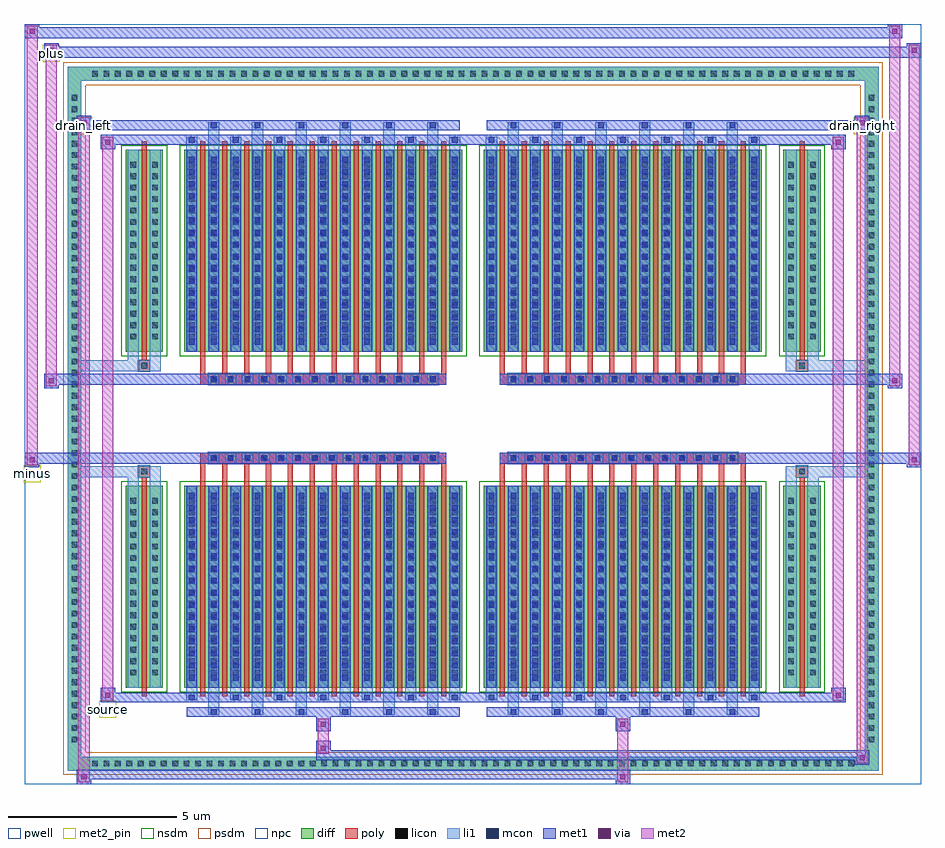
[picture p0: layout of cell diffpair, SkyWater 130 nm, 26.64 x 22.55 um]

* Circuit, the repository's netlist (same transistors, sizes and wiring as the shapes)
* NGSPICE file created from diffpair.ext - technology: sky130A

.subckt diffpair minus drain_right drain_left source plus
X0 drain_right minus source a_n2406_n2088# sky130_fd_pr__nfet_01v8 ad=1.5 pd=6.5 as=2.85 ps=12.95 w=6 l=0.15
X1 source plus drain_left a_n2406_n2088# sky130_fd_pr__nfet_01v8 ad=1.5 pd=6.5 as=1.5 ps=6.5 w=6 l=0.15
X2 drain_left plus source a_n2406_n2088# sky130_fd_pr__nfet_01v8 ad=1.5 pd=6.5 as=1.5 ps=6.5 w=6 l=0.15
X3 source minus drain_right a_n2406_n2088# sky130_fd_pr__nfet_01v8 ad=1.5 pd=6.5 as=1.5 ps=6.5 w=6 l=0.15
X4 a_n2406_n2088# a_n2406_n2088# a_n2406_n2088# a_n2406_n2088# sky130_fd_pr__nfet_01v8 ad=2.85 pd=12.95 as=22.8 ps=103.6 w=6 l=0.15
X5 source minus drain_right a_n2406_n2088# sky130_fd_pr__nfet_01v8 ad=1.5 pd=6.5 as=1.5 ps=6.5 w=6 l=0.15
X6 drain_left plus source a_n2406_n2088# sky130_fd_pr__nfet_01v8 ad=1.5 pd=6.5 as=2.85 ps=12.95 w=6 l=0.15
X7 drain_left plus source a_n2406_n2088# sky130_fd_pr__nfet_01v8 ad=1.5 pd=6.5 as=1.5 ps=6.5 w=6 l=0.15
X8 drain_right minus source a_n2406_n2088# sky130_fd_pr__nfet_01v8 ad=1.5 pd=6.5 as=1.5 ps=6.5 w=6 l=0.15
X9 drain_right minus source a_n2406_n2088# sky130_fd_pr__nfet_01v8 ad=1.5 pd=6.5 as=1.5 ps=6.5 w=6 l=0.15
X10 drain_right minus source a_n2406_n2088# sky130_fd_pr__nfet_01v8 ad=1.5 pd=6.5 as=1.5 ps=6.5 w=6 l=0.15
X11 source plus drain_left a_n2406_n2088# sky130_fd_pr__nfet_01v8 ad=1.5 pd=6.5 as=1.5 ps=6.5 w=6 l=0.15
X12 a_n2406_n2088# a_n2406_n2088# a_n2406_n2088# a_n2406_n2088# sky130_fd_pr__nfet_01v8 ad=2.85 pd=12.95 as=0 ps=0 w=6 l=0.15
X13 source minus drain_right a_n2406_n2088# sky130_fd_pr__nfet_01v8 ad=1.5 pd=6.5 as=1.5 ps=6.5 w=6 l=0.15
X14 a_n2406_n2088# a_n2406_n2088# a_n2406_n2088# a_n2406_n2088# sky130_fd_pr__nfet_01v8 ad=2.85 pd=12.95 as=0 ps=0 w=6 l=0.15
X15 a_n2406_n2088# a_n2406_n2088# a_n2406_n2088# a_n2406_n2088# sky130_fd_pr__nfet_01v8 ad=2.85 pd=12.95 as=0 ps=0 w=6 l=0.15
X16 source minus drain_right a_n2406_n2088# sky130_fd_pr__nfet_01v8 ad=1.5 pd=6.5 as=1.5 ps=6.5 w=6 l=0.15
X17 source minus drain_right a_n2406_n2088# sky130_fd_pr__nfet_01v8 ad=1.5 pd=6.5 as=1.5 ps=6.5 w=6 l=0.15
X18 source minus drain_right a_n2406_n2088# sky130_fd_pr__nfet_01v8 ad=1.5 pd=6.5 as=1.5 ps=6.5 w=6 l=0.15
X19 drain_right minus source a_n2406_n2088# sky130_fd_pr__nfet_01v8 ad=1.5 pd=6.5 as=2.85 ps=12.95 w=6 l=0.15
X20 drain_right minus source a_n2406_n2088# sky130_fd_pr__nfet_01v8 ad=1.5 pd=6.5 as=1.5 ps=6.5 w=6 l=0.15
X21 drain_right minus source a_n2406_n2088# sky130_fd_pr__nfet_01v8 ad=1.5 pd=6.5 as=1.5 ps=6.5 w=6 l=0.15
X22 source plus drain_left a_n2406_n2088# sky130_fd_pr__nfet_01v8 ad=1.5 pd=6.5 as=1.5 ps=6.5 w=6 l=0.15
X23 source minus drain_right a_n2406_n2088# sky130_fd_pr__nfet_01v8 ad=1.5 pd=6.5 as=1.5 ps=6.5 w=6 l=0.15
X24 drain_right minus source a_n2406_n2088# sky130_fd_pr__nfet_01v8 ad=1.5 pd=6.5 as=1.5 ps=6.5 w=6 l=0.15
X25 drain_right minus source a_n2406_n2088# sky130_fd_pr__nfet_01v8 ad=1.5 pd=6.5 as=1.5 ps=6.5 w=6 l=0.15
X26 drain_left plus source a_n2406_n2088# sky130_fd_pr__nfet_01v8 ad=1.5 pd=6.5 as=1.5 ps=6.5 w=6 l=0.15
X27 source plus drain_left a_n2406_n2088# sky130_fd_pr__nfet_01v8 ad=2.85 pd=12.95 as=1.5 ps=6.5 w=6 l=0.15
X28 drain_right minus source a_n2406_n2088# sky130_fd_pr__nfet_01v8 ad=1.5 pd=6.5 as=1.5 ps=6.5 w=6 l=0.15
X29 drain_right minus source a_n2406_n2088# sky130_fd_pr__nfet_01v8 ad=1.5 pd=6.5 as=1.5 ps=6.5 w=6 l=0.15
X30 source minus drain_right a_n2406_n2088# sky130_fd_pr__nfet_01v8 ad=2.85 pd=12.95 as=1.5 ps=6.5 w=6 l=0.15
X31 source plus drain_left a_n2406_n2088# sky130_fd_pr__nfet_01v8 ad=1.5 pd=6.5 as=1.5 ps=6.5 w=6 l=0.15
X32 source minus drain_right a_n2406_n2088# sky130_fd_pr__nfet_01v8 ad=1.5 pd=6.5 as=1.5 ps=6.5 w=6 l=0.15
X33 source minus drain_right a_n2406_n2088# sky130_fd_pr__nfet_01v8 ad=2.85 pd=12.95 as=1.5 ps=6.5 w=6 l=0.15
X34 source plus drain_left a_n2406_n2088# sky130_fd_pr__nfet_01v8 ad=1.5 pd=6.5 as=1.5 ps=6.5 w=6 l=0.15
X35 drain_left plus source a_n2406_n2088# sky130_fd_pr__nfet_01v8 ad=1.5 pd=6.5 as=1.5 ps=6.5 w=6 l=0.15
X36 source minus drain_right a_n2406_n2088# sky130_fd_pr__nfet_01v8 ad=1.5 pd=6.5 as=1.5 ps=6.5 w=6 l=0.15
X37 drain_left plus source a_n2406_n2088# sky130_fd_pr__nfet_01v8 ad=1.5 pd=6.5 as=1.5 ps=6.5 w=6 l=0.15
X38 drain_right minus source a_n2406_n2088# sky130_fd_pr__nfet_01v8 ad=1.5 pd=6.5 as=1.5 ps=6.5 w=6 l=0.15
X39 drain_left plus source a_n2406_n2088# sky130_fd_pr__nfet_01v8 ad=1.5 pd=6.5 as=1.5 ps=6.5 w=6 l=0.15
X40 source plus drain_left a_n2406_n2088# sky130_fd_pr__nfet_01v8 ad=1.5 pd=6.5 as=1.5 ps=6.5 w=6 l=0.15
X41 source plus drain_left a_n2406_n2088# sky130_fd_pr__nfet_01v8 ad=1.5 pd=6.5 as=1.5 ps=6.5 w=6 l=0.15
X42 source minus drain_right a_n2406_n2088# sky130_fd_pr__nfet_01v8 ad=1.5 pd=6.5 as=1.5 ps=6.5 w=6 l=0.15
X43 drain_left plus source a_n2406_n2088# sky130_fd_pr__nfet_01v8 ad=1.5 pd=6.5 as=1.5 ps=6.5 w=6 l=0.15
X44 source plus drain_left a_n2406_n2088# sky130_fd_pr__nfet_01v8 ad=1.5 pd=6.5 as=1.5 ps=6.5 w=6 l=0.15
X45 drain_left plus source a_n2406_n2088# sky130_fd_pr__nfet_01v8 ad=1.5 pd=6.5 as=1.5 ps=6.5 w=6 l=0.15
X46 drain_left plus source a_n2406_n2088# sky130_fd_pr__nfet_01v8 ad=1.5 pd=6.5 as=1.5 ps=6.5 w=6 l=0.15
X47 source plus drain_left a_n2406_n2088# sky130_fd_pr__nfet_01v8 ad=1.5 pd=6.5 as=1.5 ps=6.5 w=6 l=0.15
X48 drain_left plus source a_n2406_n2088# sky130_fd_pr__nfet_01v8 ad=1.5 pd=6.5 as=1.5 ps=6.5 w=6 l=0.15
X49 drain_left plus source a_n2406_n2088# sky130_fd_pr__nfet_01v8 ad=1.5 pd=6.5 as=2.85 ps=12.95 w=6 l=0.15
X50 source plus drain_left a_n2406_n2088# sky130_fd_pr__nfet_01v8 ad=1.5 pd=6.5 as=1.5 ps=6.5 w=6 l=0.15
X51 source plus drain_left a_n2406_n2088# sky130_fd_pr__nfet_01v8 ad=2.85 pd=12.95 as=1.5 ps=6.5 w=6 l=0.15
.ends

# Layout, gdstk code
import gdstk
lib = gdstk.Library(unit=1e-6, precision=5e-09)
def R(c, l, rs):  # rectangles x0, y0, x1, y1
    for r in rs: c.add(gdstk.rectangle(r[:2], r[2:], *l))
def A(c, l, x, y, w, h, nx, ny, dx, dy):  # array of equal rectangles
    R(c, l, [(x+i*dx, y+j*dy, x+i*dx+w, y+j*dy+h) for i in range(nx) for j in range(ny)])
def P(c, l, *ps):  # polygons
    for p in ps: c.add(gdstk.Polygon(p, *l))
pwell = (64, 44)
diff = (65, 20)
poly = (66, 20)
licon = (66, 44)
li1 = (67, 20)
mcon = (67, 44)
met1 = (68, 20)
via = (68, 44)
met2_pin = (69, 16)
met2 = (69, 20)
nsdm = (93, 44)
psdm = (94, 20)
npc = (95, 20)

diffpair = lib.new_cell('diffpair')
R(diffpair, pwell, [(-13.3,-10.84,13.3,11.71), (-10.62,-9.03,-0.01,-0.805), (0.01,-9.03,10.62,-0.805), (-10.62,0.805,-0.01,9.03), (0.01,0.805,10.62,9.03)])
A(diffpair, diff, -11.425, -10.44, 0.41, 0.41, 67, 2, 0.34, 20.47)
A(diffpair, diff, -12.03, -9.725, 0.41, 0.41, 1, 57, 0, 0.34)
A(diffpair, diff, 11.62, -9.725, 0.41, 0.41, 1, 57, 0, 0.34)
R(diffpair, diff, [(-11.425,-10.44,11.425,-10.03), (-12.03,-9.725,-11.62,9.725), (11.62,-9.725,12.03,9.725), (-10.31,-7.985,-9.21,-1.985), (-8.57,-7.985,-0.32,-1.985), (0.32,-7.985,8.57,-1.985), (9.21,-7.985,10.31,-1.985), (-10.31,1.985,-9.21,7.985), (-8.57,1.985,-0.32,7.985), (0.32,1.985,8.57,7.985), (9.21,1.985,10.31,7.985), (-11.425,10.03,11.425,10.44)])
P(diffpair, diff, [(12.03,10.44),(-12.03,10.44),(-12.03,-10.03),(-11.62,-10.03),(-11.62,10.03),(11.62,10.03),(11.62,-10.03),(-11.62,-10.03),(-12.03,-10.03),(-12.03,-10.44),(12.03,-10.44)])
A(diffpair, poly, -8.095, -8.235, 0.15, 6.5, 12, 2, 0.65, 9.97)
A(diffpair, poly, 0.795, -8.235, 0.15, 6.5, 12, 2, 0.65, 9.97)
A(diffpair, poly, -8.095, -1.735, 0.15, 0.4, 12, 2, 0.65, 3.07)
A(diffpair, poly, 0.795, -1.735, 0.15, 0.4, 12, 2, 0.65, 3.07)
A(diffpair, poly, -7.86, -1.335, 0.33, 0.33, 14, 2, 0.5, 2.34)
A(diffpair, poly, 1.03, -1.335, 0.33, 0.33, 14, 2, 0.5, 2.34)
R(diffpair, poly, [(-9.835,-8.235,-9.685,-1.735), (9.685,-8.235,9.835,-1.735), (-9.925,-1.735,-9.595,-1.405), (-9.925,-1.735,-9.595,-1.405), (9.595,-1.735,9.925,-1.405), (9.595,-1.735,9.925,-1.405), (-8.095,-1.335,-0.795,-1.005), (0.795,-1.335,8.095,-1.005), (-8.095,1.005,-0.795,1.335), (0.795,1.005,8.095,1.335), (-9.925,1.405,-9.595,1.735), (-9.925,1.405,-9.595,1.735), (9.595,1.405,9.925,1.735), (9.595,1.405,9.925,1.735), (-9.835,1.735,-9.685,8.235), (9.685,1.735,9.835,8.235)])
A(diffpair, licon, -11.305, -10.32, 0.17, 0.17, 67, 2, 0.34, 20.47)
A(diffpair, licon, -11.91, -9.605, 0.17, 0.17, 1, 57, 0, 0.34)
A(diffpair, licon, 11.74, -9.605, 0.17, 0.17, 1, 57, 0, 0.34)
A(diffpair, licon, -10.17, -7.62, 0.17, 0.17, 1, 16, 0, 0.34)
A(diffpair, licon, -9.52, -7.62, 0.17, 0.17, 1, 16, 0, 0.34)
A(diffpair, licon, -8.43, -7.62, 0.17, 0.17, 13, 16, 0.65, 0.34)
A(diffpair, licon, 0.46, -7.62, 0.17, 0.17, 13, 16, 0.65, 0.34)
A(diffpair, licon, 9.35, -7.62, 0.17, 0.17, 1, 16, 0, 0.34)
A(diffpair, licon, 10, -7.62, 0.17, 0.17, 1, 16, 0, 0.34)
A(diffpair, licon, -7.78, -1.255, 0.17, 0.17, 14, 2, 0.5, 2.34)
A(diffpair, licon, 1.11, -1.255, 0.17, 0.17, 14, 2, 0.5, 2.34)
A(diffpair, licon, -10.17, 2.35, 0.17, 0.17, 1, 16, 0, 0.34)
A(diffpair, licon, -9.52, 2.35, 0.17, 0.17, 1, 16, 0, 0.34)
A(diffpair, licon, -8.43, 2.35, 0.17, 0.17, 13, 16, 0.65, 0.34)
A(diffpair, licon, 0.46, 2.35, 0.17, 0.17, 13, 16, 0.65, 0.34)
A(diffpair, licon, 9.35, 2.35, 0.17, 0.17, 1, 16, 0, 0.34)
A(diffpair, licon, 10, 2.35, 0.17, 0.17, 1, 16, 0, 0.34)
R(diffpair, licon, [(-9.845,-1.655,-9.675,-1.485), (9.675,-1.655,9.845,-1.485), (-9.845,1.485,-9.675,1.655), (9.675,1.485,9.845,1.655)])
A(diffpair, li1, -11.385, -10.4, 0.33, 0.33, 67, 2, 0.34, 20.47)
A(diffpair, li1, -11.99, -9.685, 0.33, 0.33, 1, 57, 0, 0.34)
A(diffpair, li1, 11.66, -9.685, 0.33, 0.33, 1, 57, 0, 0.34)
A(diffpair, li1, -7.86, -8.79, 0.33, 0.805, 6, 2, 1.3, 16.775)
A(diffpair, li1, -7.78, -8.79, 0.17, 0.17, 6, 2, 1.3, 17.41)
A(diffpair, li1, 1.03, -8.79, 0.33, 0.805, 6, 2, 1.3, 16.775)
A(diffpair, li1, 1.11, -8.79, 0.17, 0.17, 6, 2, 1.3, 17.41)
A(diffpair, li1, -8.51, -8.36, 0.33, 0.375, 7, 2, 1.3, 16.345)
A(diffpair, li1, -8.43, -8.36, 0.17, 0.17, 7, 2, 1.3, 16.55)
A(diffpair, li1, 0.38, -8.36, 0.33, 0.375, 7, 2, 1.3, 16.345)
A(diffpair, li1, 0.46, -8.36, 0.17, 0.17, 7, 2, 1.3, 16.55)
A(diffpair, li1, -8.51, -7.985, 0.33, 6, 13, 2, 0.65, 9.97)
A(diffpair, li1, 0.38, -7.985, 0.33, 6, 13, 2, 0.65, 9.97)
A(diffpair, li1, -8.43, -7.77, 0.17, 0.17, 13, 16, 0.65, 0.36)
A(diffpair, li1, -8.43, -7.77, 0.17, 5.57, 13, 2, 0.65, 9.97)
A(diffpair, li1, 0.46, -7.77, 0.17, 0.17, 13, 16, 0.65, 0.36)
A(diffpair, li1, 0.46, -7.77, 0.17, 5.57, 13, 2, 0.65, 9.97)
A(diffpair, li1, -10.25, -7.7, 0.33, 0.33, 1, 16, 0, 0.34)
A(diffpair, li1, -9.6, -7.7, 0.33, 0.33, 1, 16, 0, 0.34)
A(diffpair, li1, -8.51, -7.7, 0.33, 0.33, 13, 16, 0.65, 0.34)
A(diffpair, li1, 0.38, -7.7, 0.33, 0.33, 13, 16, 0.65, 0.34)
A(diffpair, li1, 9.27, -7.7, 0.33, 0.33, 1, 16, 0, 0.34)
A(diffpair, li1, 9.92, -7.7, 0.33, 0.33, 1, 16, 0, 0.34)
A(diffpair, li1, -7.86, -1.335, 0.33, 0.33, 14, 2, 0.5, 2.34)
A(diffpair, li1, 1.03, -1.335, 0.33, 0.33, 14, 2, 0.5, 2.34)
A(diffpair, li1, -8.43, 2.2, 0.17, 0.17, 13, 16, 0.65, 0.36)
A(diffpair, li1, 0.46, 2.2, 0.17, 0.17, 13, 16, 0.65, 0.36)
A(diffpair, li1, -10.25, 2.27, 0.33, 0.33, 1, 16, 0, 0.34)
A(diffpair, li1, -9.6, 2.27, 0.33, 0.33, 1, 16, 0, 0.34)
A(diffpair, li1, -8.51, 2.27, 0.33, 0.33, 13, 16, 0.65, 0.34)
A(diffpair, li1, 0.38, 2.27, 0.33, 0.33, 13, 16, 0.65, 0.34)
A(diffpair, li1, 9.27, 2.27, 0.33, 0.33, 1, 16, 0, 0.34)
A(diffpair, li1, 9.92, 2.27, 0.33, 0.33, 1, 16, 0, 0.34)
R(diffpair, li1, [(-12.03,-10.44,-11.62,-10.03), (-12.03,-10.44,-11.62,-10.03), (-11.62,-10.44,11.62,-10.03), (11.62,-10.44,12.03,-10.03), (11.62,-10.44,12.03,-10.03), (-12.03,-10.03,-11.62,10.03), (11.62,-10.03,12.03,10.03), (-10.25,-7.985,-9.92,-1.985), (-9.6,-7.985,-9.27,-1.985), (9.27,-7.985,9.6,-1.985), (9.92,-7.985,10.25,-1.985), (-10.25,-1.985,-9.92,-1.405), (-9.6,-1.985,-9.27,-1.405), (9.27,-1.985,9.6,-1.405), (9.92,-1.985,10.25,-1.405), (-12.03,-1.735,-9.925,-1.405), (-10.25,-1.735,-9.925,-1.405), (-9.925,-1.735,-9.595,-1.405), (-9.595,-1.735,-9.27,-1.405), (9.27,-1.735,9.595,-1.405), (9.595,-1.735,9.925,-1.405), (9.595,-1.735,12.03,-1.405), (9.925,-1.735,10.25,-1.405), (-12.03,1.405,-9.925,1.735), (-10.25,1.405,-9.925,1.735), (-10.25,1.405,-9.92,1.985), (-9.925,1.405,-9.595,1.735), (-9.6,1.405,-9.27,1.985), (-9.595,1.405,-9.27,1.735), (9.27,1.405,9.595,1.735), (9.27,1.405,9.6,1.985), (9.595,1.405,9.925,1.735), (9.595,1.405,12.03,1.735), (9.92,1.405,10.25,1.985), (9.925,1.405,10.25,1.735), (-10.25,1.985,-9.92,7.985), (-9.6,1.985,-9.27,7.985), (9.27,1.985,9.6,7.985), (9.92,1.985,10.25,7.985), (-12.03,10.03,-11.62,10.44), (-12.03,10.03,-11.62,10.44), (-11.62,10.03,11.62,10.44), (11.62,10.03,12.03,10.44), (11.62,10.03,12.03,10.44)])
A(diffpair, mcon, -7.78, -8.79, 0.17, 0.17, 6, 2, 1.3, 17.41)
A(diffpair, mcon, 1.11, -8.79, 0.17, 0.17, 6, 2, 1.3, 17.41)
A(diffpair, mcon, -8.43, -8.36, 0.17, 0.17, 7, 2, 1.3, 16.55)
A(diffpair, mcon, 0.46, -8.36, 0.17, 0.17, 7, 2, 1.3, 16.55)
A(diffpair, mcon, -8.43, -7.77, 0.17, 0.17, 13, 16, 0.65, 0.36)
A(diffpair, mcon, 0.46, -7.77, 0.17, 0.17, 13, 16, 0.65, 0.36)
A(diffpair, mcon, -7.78, -1.255, 0.17, 0.17, 14, 2, 0.5, 2.34)
A(diffpair, mcon, 1.11, -1.255, 0.17, 0.17, 14, 2, 0.5, 2.34)
A(diffpair, mcon, -8.43, 2.2, 0.17, 0.17, 13, 16, 0.65, 0.36)
A(diffpair, mcon, 0.46, 2.2, 0.17, 0.17, 13, 16, 0.65, 0.36)
A(diffpair, met1, -7.84, -8.85, 0.29, 0.29, 6, 2, 1.3, 17.41)
A(diffpair, met1, 1.05, -8.85, 0.29, 0.29, 6, 2, 1.3, 17.41)
A(diffpair, met1, -8.49, -8.42, 0.29, 0.29, 7, 2, 1.3, 16.55)
A(diffpair, met1, 0.4, -8.42, 0.29, 0.29, 7, 2, 1.3, 16.55)
A(diffpair, met1, -8.49, -7.985, 0.29, 6, 13, 2, 0.65, 9.97)
A(diffpair, met1, 0.4, -7.985, 0.29, 6, 13, 2, 0.65, 9.97)
A(diffpair, met1, -8.49, -7.83, 0.29, 0.29, 13, 16, 0.65, 0.36)
A(diffpair, met1, 0.4, -7.83, 0.29, 0.29, 13, 16, 0.65, 0.36)
A(diffpair, met1, -7.84, -1.315, 0.29, 0.29, 14, 2, 0.5, 2.34)
A(diffpair, met1, 1.05, -1.315, 0.29, 0.29, 14, 2, 0.5, 2.34)
A(diffpair, met1, -8.49, 2.14, 0.29, 0.29, 13, 16, 0.65, 0.36)
A(diffpair, met1, 0.4, 2.14, 0.29, 0.29, 13, 16, 0.65, 0.36)
R(diffpair, met1, [(-11.76,-10.84,-11.33,-10.41), (4.23,-10.84,4.66,-10.41), (-11.76,-10.7,4.66,-10.41), (11.33,-10.27,11.76,-9.84), (-4.66,-10.13,11.76,-9.84), (-4.66,-9.99,-4.23,-9.56), (-4.66,-9.28,-4.23,-8.85), (4.23,-9.28,4.66,-8.85), (-8.49,-8.85,-0.4,-8.56), (0.4,-8.85,8.49,-8.56), (-11.05,-8.42,-10.62,-7.99), (-11.05,-8.42,-8.49,-8.13), (-8.49,-8.42,-0.4,-8.13), (-0.4,-8.42,0.4,-8.13), (0.4,-8.42,8.49,-8.13), (8.49,-8.42,11.05,-8.13), (10.62,-8.42,11.05,-7.99), (-13.3,-1.435,-12.87,-1.005), (12.87,-1.435,13.3,-1.005), (-13.3,-1.335,-0.795,-1.005), (-8.095,-1.335,-0.795,-1.005), (0.795,-1.335,8.095,-1.005), (0.795,-1.335,13.3,-1.005), (-12.73,0.905,-12.3,1.335), (12.3,0.905,12.73,1.335), (-12.73,1.005,-8.095,1.335), (-8.095,1.005,-0.795,1.335), (0.795,1.005,8.095,1.335), (8.095,1.005,12.73,1.335), (-11.05,7.99,-10.62,8.42), (10.62,7.99,11.05,8.42), (-11.05,8.13,-8.49,8.42), (-8.49,8.13,-0.4,8.42), (-0.4,8.13,0.4,8.42), (0.4,8.13,8.49,8.42), (8.49,8.13,11.05,8.42), (-11.76,8.56,-11.33,8.99), (-11.76,8.56,-8.49,8.85), (-8.49,8.56,-0.4,8.85), (0.4,8.56,8.49,8.85), (8.49,8.56,11.76,8.85), (11.33,8.56,11.76,8.99), (-12.73,10.71,-12.3,11.14), (-12.73,10.71,-10.62,11.04), (-10.62,10.71,10.62,11.04), (10.62,10.71,13.3,11.04), (12.87,10.71,13.3,11.14), (-13.3,11.28,-12.87,11.71), (-13.3,11.28,-10.62,11.61), (-10.62,11.28,10.62,11.61), (10.62,11.28,12.73,11.61), (12.3,11.28,12.73,11.71)])
R(diffpair, via, [(-11.62,-10.7,-11.47,-10.55), (4.37,-10.7,4.52,-10.55), (11.47,-10.13,11.62,-9.98), (-4.52,-9.85,-4.37,-9.7), (-4.52,-9.14,-4.37,-8.99), (4.37,-9.14,4.52,-8.99), (-10.91,-8.28,-10.76,-8.13), (10.76,-8.28,10.91,-8.13), (-13.16,-1.295,-13.01,-1.145), (13.01,-1.295,13.16,-1.145), (-12.59,1.045,-12.44,1.195), (12.44,1.045,12.59,1.195), (-10.91,8.13,-10.76,8.28), (10.76,8.13,10.91,8.28), (-11.62,8.7,-11.47,8.85), (11.47,8.7,11.62,8.85), (-12.59,10.85,-12.44,11), (13.01,10.85,13.16,11), (-13.16,11.42,-13.01,11.57), (12.44,11.42,12.59,11.57)])
R(diffpair, met2_pin, [(-11.085,-8.87,-10.585,-8.37), (-13.335,-1.885,-12.835,-1.385), (-11.795,8.44,-11.295,8.94), (11.295,8.44,11.795,8.94), (-12.765,10.59,-12.265,11.09)])
R(diffpair, met2, [(-11.71,-10.79,-11.38,-10.46), (-11.71,-10.79,-11.38,8.94), (4.28,-10.79,4.61,-10.46), (4.28,-10.46,4.61,-9.23), (11.38,-10.22,11.71,-9.89), (11.38,-10.22,11.71,8.94), (-4.61,-9.94,-4.28,-9.61), (-4.61,-9.61,-4.28,-9.23), (-4.61,-9.23,-4.28,-8.9), (4.28,-9.23,4.61,-8.9), (-11,-8.37,-10.67,-8.04), (-11,-8.37,-10.67,8.37), (10.67,-8.37,11,-8.04), (10.67,-8.37,11,8.37), (-13.25,-1.385,-12.92,-1.055), (-13.25,-1.385,-12.92,11.66), (12.92,-1.385,13.25,-1.055), (12.92,-1.385,13.25,11.09), (-12.68,0.955,-12.35,1.285), (-12.68,0.955,-12.35,11.09), (12.35,0.955,12.68,1.285), (12.35,0.955,12.68,11.66), (-11,8.04,-10.67,8.37), (10.67,8.04,11,8.37), (-11.71,8.61,-11.38,8.94), (11.38,8.61,11.71,8.94), (-12.68,10.76,-12.35,11.09), (12.92,10.76,13.25,11.09), (-13.25,11.33,-12.92,11.66), (12.35,11.33,12.68,11.66)])
P(diffpair, met2, [(13.25,-1.385),(13.25,-1.385),(13.25,-1.055),(13.25,-1.055)],
  [(13.25,10.76),(13.25,10.76),(13.25,11.09),(13.25,11.09)],
  [(-12.92,-1.385),(-12.92,-1.385),(-12.92,-1.055),(-12.92,-1.055)],
  [(-12.92,11.33),(-12.92,11.33),(-12.92,11.66),(-12.92,11.66)],
  [(12.68,0.955),(12.68,0.955),(12.68,1.285),(12.68,1.285)],
  [(12.68,11.33),(12.68,11.33),(12.68,11.66),(12.68,11.66)],
  [(-12.35,0.955),(-12.35,0.955),(-12.35,1.285),(-12.35,1.285)],
  [(-12.35,10.76),(-12.35,10.76),(-12.35,11.09),(-12.35,11.09)],
  [(-11.38,-10.79),(-11.38,-10.79),(-11.38,-10.46),(-11.38,-10.46)],
  [(-11.38,8.61),(-11.38,8.61),(-11.38,8.94),(-11.38,8.94)],
  [(11.71,-10.22),(11.71,-10.22),(11.71,-9.89),(11.71,-9.89)],
  [(11.71,8.61),(11.71,8.61),(11.71,8.94),(11.71,8.94)],
  [(-10.67,-8.37),(-10.67,-8.37),(-10.67,-8.04),(-10.67,-8.04)],
  [(-10.67,8.04),(-10.67,8.04),(-10.67,8.37),(-10.67,8.37)],
  [(11,-8.37),(11,-8.37),(11,-8.04),(11,-8.04)],
  [(11,8.04),(11,8.04),(11,8.37),(11,8.37)])
R(diffpair, nsdm, [(-10.44,-8.115,-9.08,-1.855), (-8.7,-8.115,-0.19,-1.855), (0.19,-8.115,8.7,-1.855), (9.08,-8.115,10.44,-1.855), (-10.44,1.855,-9.08,8.115), (-8.7,1.855,-0.19,8.115), (0.19,1.855,8.7,8.115), (9.08,1.855,10.44,8.115)])
P(diffpair, psdm, [(12.16,10.57),(-12.16,10.57),(-12.16,-9.9),(-11.49,-9.9),(-11.49,9.9),(11.49,9.9),(11.49,-9.9),(-11.49,-9.9),(-12.16,-9.9),(-12.16,-10.57),(12.16,-10.57)])
A(diffpair, npc, -7.88, -1.355, 0.37, 0.37, 14, 2, 0.5, 2.34)
A(diffpair, npc, 1.01, -1.355, 0.37, 0.37, 14, 2, 0.5, 2.34)
R(diffpair, npc, [(-9.945,-1.755,-9.575,-1.385), (9.575,-1.755,9.945,-1.385), (-7.88,-1.355,-7.01,-0.985), (-7.88,-1.355,-7.01,-0.985), (-7.38,-1.355,-6.51,-0.985), (-7.38,-1.355,-6.51,-0.985), (-6.88,-1.355,-6.01,-0.985), (-6.88,-1.355,-6.01,-0.985), (-6.38,-1.355,-5.51,-0.985), (-6.38,-1.355,-5.51,-0.985), (-5.88,-1.355,-5.01,-0.985), (-5.88,-1.355,-5.01,-0.985), (-5.38,-1.355,-4.51,-0.985), (-5.38,-1.355,-4.51,-0.985), (-4.88,-1.355,-4.01,-0.985), (-4.88,-1.355,-4.01,-0.985), (-4.38,-1.355,-3.51,-0.985), (-4.38,-1.355,-3.51,-0.985), (-3.88,-1.355,-3.01,-0.985), (-3.88,-1.355,-3.01,-0.985), (-3.38,-1.355,-2.51,-0.985), (-3.38,-1.355,-2.51,-0.985), (-2.88,-1.355,-2.01,-0.985), (-2.88,-1.355,-2.01,-0.985), (-2.38,-1.355,-1.51,-0.985), (-2.38,-1.355,-1.51,-0.985), (-1.88,-1.355,-1.01,-0.985), (-1.88,-1.355,-1.01,-0.985), (1.01,-1.355,1.88,-0.985), (1.01,-1.355,1.88,-0.985), (1.51,-1.355,2.38,-0.985), (1.51,-1.355,2.38,-0.985), (2.01,-1.355,2.88,-0.985), (2.01,-1.355,2.88,-0.985), (2.51,-1.355,3.38,-0.985), (2.51,-1.355,3.38,-0.985), (3.01,-1.355,3.88,-0.985), (3.01,-1.355,3.88,-0.985), (3.51,-1.355,4.38,-0.985), (3.51,-1.355,4.38,-0.985), (4.01,-1.355,4.88,-0.985), (4.01,-1.355,4.88,-0.985), (4.51,-1.355,5.38,-0.985), (4.51,-1.355,5.38,-0.985), (5.01,-1.355,5.88,-0.985), (5.01,-1.355,5.88,-0.985), (5.51,-1.355,6.38,-0.985), (5.51,-1.355,6.38,-0.985), (6.01,-1.355,6.88,-0.985), (6.01,-1.355,6.88,-0.985), (6.51,-1.355,7.38,-0.985), (6.51,-1.355,7.38,-0.985), (7.01,-1.355,7.88,-0.985), (7.01,-1.355,7.88,-0.985), (-7.88,0.985,-7.01,1.355), (-7.88,0.985,-7.01,1.355), (-7.38,0.985,-6.51,1.355), (-7.38,0.985,-6.51,1.355), (-6.88,0.985,-6.01,1.355), (-6.88,0.985,-6.01,1.355), (-6.38,0.985,-5.51,1.355), (-6.38,0.985,-5.51,1.355), (-5.88,0.985,-5.01,1.355), (-5.88,0.985,-5.01,1.355), (-5.38,0.985,-4.51,1.355), (-5.38,0.985,-4.51,1.355), (-4.88,0.985,-4.01,1.355), (-4.88,0.985,-4.01,1.355), (-4.38,0.985,-3.51,1.355), (-4.38,0.985,-3.51,1.355), (-3.88,0.985,-3.01,1.355), (-3.88,0.985,-3.01,1.355), (-3.38,0.985,-2.51,1.355), (-3.38,0.985,-2.51,1.355), (-2.88,0.985,-2.01,1.355), (-2.88,0.985,-2.01,1.355), (-2.38,0.985,-1.51,1.355), (-2.38,0.985,-1.51,1.355), (-1.88,0.985,-1.01,1.355), (-1.88,0.985,-1.01,1.355), (1.01,0.985,1.88,1.355), (1.01,0.985,1.88,1.355), (1.51,0.985,2.38,1.355), (1.51,0.985,2.38,1.355), (2.01,0.985,2.88,1.355), (2.01,0.985,2.88,1.355), (2.51,0.985,3.38,1.355), (2.51,0.985,3.38,1.355), (3.01,0.985,3.88,1.355), (3.01,0.985,3.88,1.355), (3.51,0.985,4.38,1.355), (3.51,0.985,4.38,1.355), (4.01,0.985,4.88,1.355), (4.01,0.985,4.88,1.355), (4.51,0.985,5.38,1.355), (4.51,0.985,5.38,1.355), (5.01,0.985,5.88,1.355), (5.01,0.985,5.88,1.355), (5.51,0.985,6.38,1.355), (5.51,0.985,6.38,1.355), (6.01,0.985,6.88,1.355), (6.01,0.985,6.88,1.355), (6.51,0.985,7.38,1.355), (6.51,0.985,7.38,1.355), (7.01,0.985,7.88,1.355), (7.01,0.985,7.88,1.355), (-9.945,1.385,-9.575,1.755), (9.575,1.385,9.945,1.755)])
diffpair.add(gdstk.Label('minus', (-13.085,-1.635), layer=69, texttype=5))
diffpair.add(gdstk.Label('drain_right', (11.545,8.69), layer=69, texttype=5))
diffpair.add(gdstk.Label('drain_left', (-11.545,8.69), layer=69, texttype=5))
diffpair.add(gdstk.Label('source', (-10.835,-8.62), layer=69, texttype=5))
diffpair.add(gdstk.Label('plus', (-12.515,10.84), layer=69, texttype=5))

lib.write_gds('diffpair.gds')
